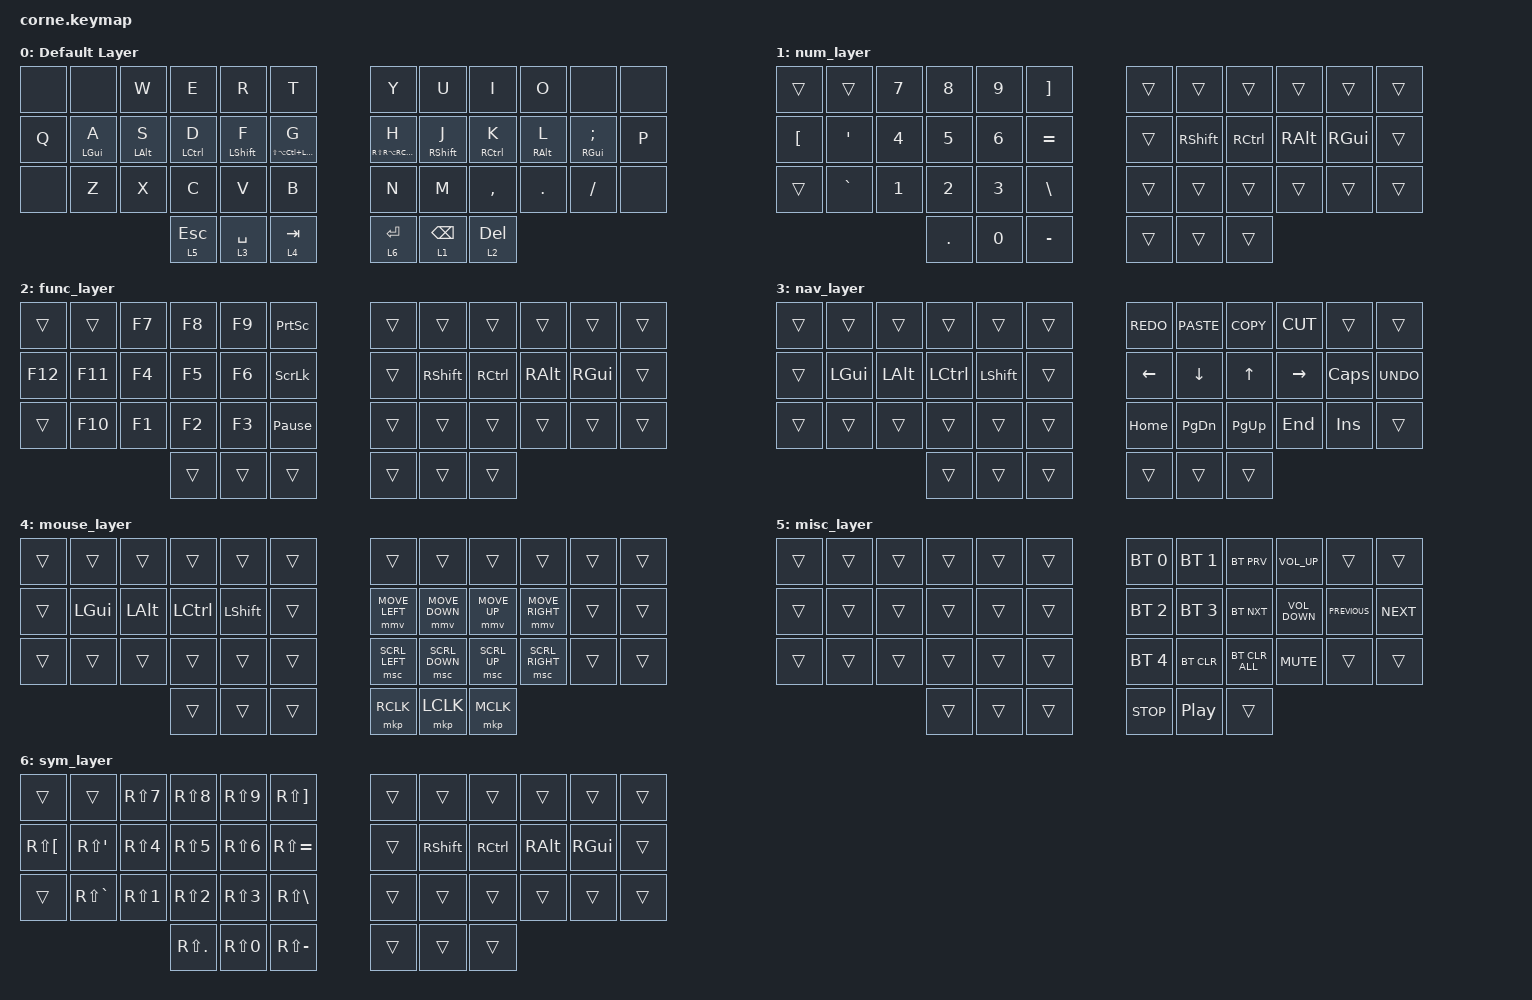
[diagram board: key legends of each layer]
/*
 * Copyright (c) 2020 The ZMK Contributors
 *
 * SPDX-License-Identifier: MIT
 */

#include <behaviors.dtsi>
#include <dt-bindings/zmk/bt.h>
#include <dt-bindings/zmk/keys.h>
#include <dt-bindings/zmk/pointing.h>

#define BASE 0
#define NUM 1
#define SYM 2
#define FUNC 3
#define NAV 4
#define MOU 5
#define MISC 6

&mt {
    quick-tap-ms = <100>;
    global-quick-tap;
    flavor = "tap-preferred";
    tapping-term-ms = <170>;
};

/ {
    behaviors {
        td_l6: tap_dance_layer_6 {
            compatible = "zmk,behavior-tap-dance";
            #binding-cells = <0>;
            tapping-term-ms = <200>;
            bindings = <&mo 6>, <&kp ENTER>;
        };
    };

    combos {
        compatible = "zmk,combos";

        combo_minus {
            bindings = <&kp KP_MINUS>;
            key-positions = <3 4>;
        };

        combo_underscore {
            bindings = <&kp UNDER>;
            key-positions = <28 27>;
        };

        combo_right_paren {
            bindings = <&kp RIGHT_PARENTHESIS>;
            key-positions = <31 32>;
        };

        combo_caps_word {
            bindings = <&caps_word>;
            key-positions = <7 8>;
        };
    };

    keymap {
        compatible = "zmk,keymap";

        default_layer {
            display-name = "Default Layer";

            // -----------------------------------------------------------------------------------------
            // |  TAB |  Q  |  W  |  E  |  R  |  T  |   |  Y  |  U   |  I  |  O  |  P  | BSPC |
            // | CTRL |  A  |  S  |  D  |  F  |  G  |   |  H  |  J   |  K  |  L  |  ;  |  '   |
            // | SHFT |  Z  |  X  |  C  |  V  |  B  |   |  N  |  M   |  ,  |  .  |  /  | ESC  |
            //                    | GUI | LWR | SPC |   | ENT | RSE  | ALT |

            bindings = <
&none  &none           &kp W           &kp E               &kp R             &kp T                         &kp Y                        &kp U              &kp I                &kp O            &none                    &none
&kp Q  &mt LEFT_GUI A  &mt LEFT_ALT S  &mt LEFT_CONTROL D  &mt LEFT_SHIFT F  &mt LS(LA(LC(LEFT_GUI))) G    &mt RS(RA(RC(RIGHT_GUI))) H  &mt RIGHT_SHIFT J  &mt RIGHT_CONTROL K  &mt RIGHT_ALT L  &mt RIGHT_GUI SEMICOLON  &kp P
&none  &kp Z           &kp X           &kp C               &kp V             &kp B                         &kp N                        &kp M              &kp COMMA            &kp DOT          &kp FSLH                 &none
                                       &lt 5 ESCAPE        &lt 3 SPACE       &lt 4 TAB                     &lt 6 ENTER                  &lt 1 BACKSPACE    &lt 2 DELETE
            >;
        };

        num_layer {
            bindings = <
&trans    &trans     &kp N7  &kp N8   &kp N9  &kp RBKT     &trans  &trans     &trans     &trans    &trans    &trans
&kp LBKT  &kp SQT    &kp N4  &kp N5   &kp N6  &kp EQUAL    &trans  &kp RSHFT  &kp RCTRL  &kp RALT  &kp RGUI  &trans
&trans    &kp GRAVE  &kp N1  &kp N2   &kp N3  &kp BSLH     &trans  &trans     &trans     &trans    &trans    &trans
                             &kp DOT  &kp N0  &kp MINUS    &trans  &trans     &trans
            >;
        };

        func_layer {
            bindings = <
&trans   &trans   &kp F7  &kp F8  &kp F9  &kp PRINTSCREEN    &trans  &trans     &trans     &trans    &trans    &trans
&kp F12  &kp F11  &kp F4  &kp F5  &kp F6  &kp SCROLLLOCK     &trans  &kp RSHFT  &kp RCTRL  &kp RALT  &kp RGUI  &trans
&trans   &kp F10  &kp F1  &kp F2  &kp F3  &kp PAUSE_BREAK    &trans  &trans     &trans     &trans    &trans    &trans
                          &trans  &trans  &trans             &trans  &trans     &trans
            >;
        };

        nav_layer {
            bindings = <
&trans  &trans    &trans    &trans     &trans     &trans    &kp K_REDO      &kp K_PASTE     &kp K_COPY    &kp K_CUT        &trans        &trans
&trans  &kp LGUI  &kp LALT  &kp LCTRL  &kp LSHFT  &trans    &kp LEFT_ARROW  &kp DOWN_ARROW  &kp UP_ARROW  &kp RIGHT_ARROW  &kp CAPSLOCK  &kp K_UNDO
&trans  &trans    &trans    &trans     &trans     &trans    &kp HOME        &kp PAGE_DOWN   &kp PAGE_UP   &kp END          &kp INSERT    &trans
                            &trans     &trans     &trans    &trans          &trans          &trans
            >;
        };

        mouse_layer {
            bindings = <
&trans  &trans    &trans    &trans     &trans     &trans    &trans          &trans          &trans        &trans           &trans  &trans
&trans  &kp LGUI  &kp LALT  &kp LCTRL  &kp LSHFT  &trans    &mmv MOVE_LEFT  &mmv MOVE_DOWN  &mmv MOVE_UP  &mmv MOVE_RIGHT  &trans  &trans
&trans  &trans    &trans    &trans     &trans     &trans    &msc SCRL_LEFT  &msc SCRL_DOWN  &msc SCRL_UP  &msc SCRL_RIGHT  &trans  &trans
                            &trans     &trans     &trans    &mkp RCLK       &mkp LCLK       &mkp MCLK
            >;
        };

        misc_layer {
            bindings = <
&trans  &trans  &trans  &trans  &trans  &trans    &bt BT_SEL 0  &bt BT_SEL 1      &bt BT_PRV      &kp C_VOLUME_UP    &trans          &trans
&trans  &trans  &trans  &trans  &trans  &trans    &bt BT_SEL 2  &bt BT_SEL 3      &bt BT_NXT      &kp C_VOLUME_DOWN  &kp C_PREVIOUS  &kp C_NEXT
&trans  &trans  &trans  &trans  &trans  &trans    &bt BT_SEL 4  &bt BT_CLR        &bt BT_CLR_ALL  &kp K_MUTE         &trans          &trans
                        &trans  &trans  &trans    &kp C_STOP    &kp C_PLAY_PAUSE  &trans
            >;
        };

        sym_layer {
            bindings = <
&trans        &trans         &kp RS(N7)  &kp RS(N8)   &kp RS(N9)  &kp RS(RBKT)     &trans  &trans     &trans     &trans    &trans    &trans
&kp RS(LBKT)  &kp RS(SQT)    &kp RS(N4)  &kp RS(N5)   &kp RS(N6)  &kp RS(EQUAL)    &trans  &kp RSHFT  &kp RCTRL  &kp RALT  &kp RGUI  &trans
&trans        &kp RS(GRAVE)  &kp RS(N1)  &kp RS(N2)   &kp RS(N3)  &kp RS(BSLH)     &trans  &trans     &trans     &trans    &trans    &trans
                                         &kp RS(DOT)  &kp RS(N0)  &kp RS(MINUS)    &trans  &trans     &trans
            >;
        };
    };
};
